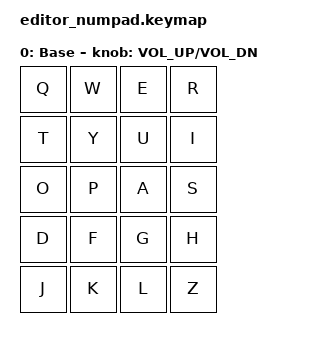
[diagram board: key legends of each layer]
#include <behaviors.dtsi>
#include <dt-bindings/zmk/keys.h>

/ {
    keymap {
        compatible = "zmk,keymap";

        default_layer {
            display-name = "Base";
            // | Q | W | E | R |
            // | T | Y | U | I |
            // | O | P | A | S |
            // | D | F | G | H |
            // | J | K | L | Z |
            bindings = <
                &kp Q  &kp W  &kp E  &kp R
                &kp T  &kp Y  &kp U  &kp I
                &kp O  &kp P  &kp A  &kp S
                &kp D  &kp F  &kp G  &kp H
                &kp J  &kp K  &kp L  &kp Z
            >;

            sensor-bindings = <&inc_dec_kp C_VOL_UP C_VOL_DN>;
        };
    };
};
